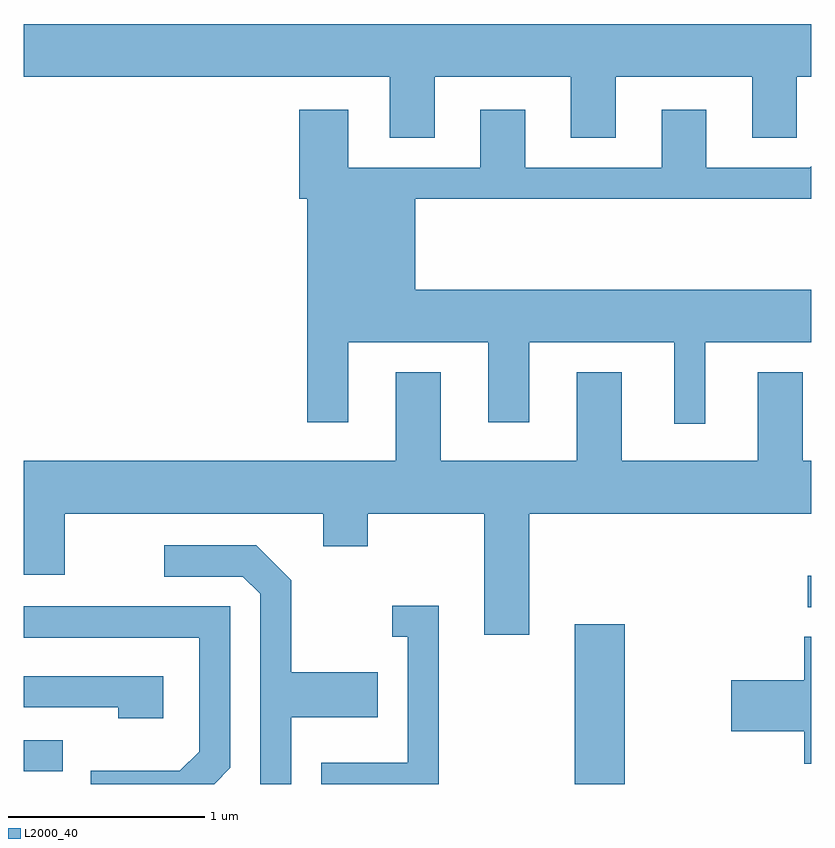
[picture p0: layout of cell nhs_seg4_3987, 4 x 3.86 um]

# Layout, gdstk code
import gdstk
lib = gdstk.Library(unit=1e-6, precision=1e-09)
def R(c, l, rs):  # rectangles x0, y0, x1, y1
    for r in rs: c.add(gdstk.rectangle(r[:2], r[2:], *l))
def P(c, l, *ps):  # polygons
    for p in ps: c.add(gdstk.Polygon(p, *l))
L2000_40 = (2000, 40)

nhs_seg4_3987 = lib.new_cell('nhs_seg4_3987')
R(nhs_seg4_3987, L2000_40, [(304.411,1339.982,304.664,1340.794), (301.611,1340.046,301.808,1340.204), (305.593,1340.881,305.611,1341.039)])
P(nhs_seg4_3987, L2000_40, [(301.611,1343.576),(303.471,1343.576),(303.471,1343.266),(303.699,1343.266),(303.699,1343.576),(304.391,1343.576),(304.391,1343.266),(304.619,1343.266),(304.619,1343.576),(305.311,1343.576),(305.311,1343.266),(305.539,1343.266),(305.539,1343.576),(305.611,1343.576),(305.611,1343.844),(301.611,1343.844)],
  [(305.074,1342.226),(305.611,1342.226),(305.611,1342.494),(303.599,1342.494),(303.599,1342.956),(305.611,1342.956),(305.611,1343.121),(305.604,1343.114),(305.079,1343.114),(305.079,1343.409),(304.851,1343.409),(304.851,1343.114),(304.159,1343.114),(304.159,1343.409),(303.931,1343.409),(303.931,1343.114),(303.259,1343.114),(303.259,1343.409),(303.011,1343.409),(303.011,1342.956),(303.051,1342.956),(303.051,1341.821),(303.259,1341.821),(303.259,1342.226),(303.971,1342.226),(303.971,1341.821),(304.179,1341.821),(304.179,1342.226),(304.916,1342.226),(304.916,1341.813),(305.074,1341.813)],
  [(304.179,1341.356),(305.611,1341.356),(305.611,1341.624),(305.569,1341.624),(305.569,1342.074),(305.341,1342.074),(305.341,1341.624),(304.649,1341.624),(304.649,1342.074),(304.421,1342.074),(304.421,1341.624),(303.729,1341.624),(303.729,1342.074),(303.501,1342.074),(303.501,1341.624),(301.611,1341.624),(301.611,1341.046),(301.819,1341.046),(301.819,1341.356),(303.131,1341.356),(303.131,1341.191),(303.359,1341.191),(303.359,1341.356),(303.951,1341.356),(303.951,1340.741),(304.179,1340.741)],
  [(302.969,1340.321),(303.409,1340.321),(303.409,1340.549),(302.969,1340.549),(302.969,1341.017),(302.792,1341.194),(302.323,1341.194),(302.323,1341.036),(302.724,1341.036),(302.811,1340.949),(302.811,1339.982),(302.969,1339.982)],
  [(303.719,1340.889),(303.483,1340.889),(303.483,1340.731),(303.561,1340.731),(303.561,1340.089),(303.121,1340.089),(303.121,1339.982),(303.719,1339.982)],
  [(302.659,1340.064),(302.659,1340.884),(301.611,1340.884),(301.611,1340.726),(302.501,1340.726),(302.501,1340.147),(302.404,1340.049),(301.951,1340.049),(301.951,1339.982),(302.577,1339.982)],
  [(305.611,1340.729),(305.576,1340.729),(305.576,1340.509),(305.206,1340.509),(305.206,1340.251),(305.576,1340.251),(305.576,1340.086),(305.611,1340.086)],
  [(302.319,1340.529),(301.611,1340.529),(301.611,1340.371),(302.091,1340.371),(302.091,1340.316),(302.319,1340.316)])

lib.write_gds('nhs_seg4_3987.gds')
